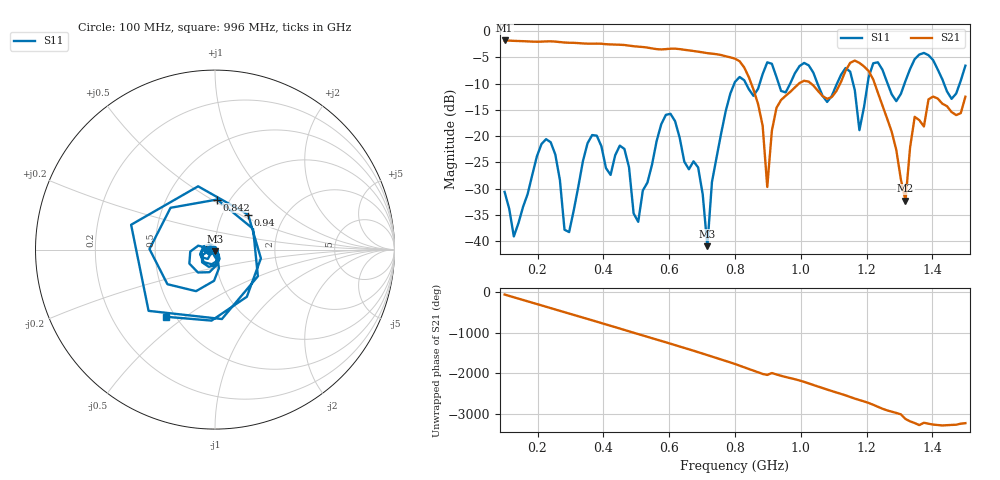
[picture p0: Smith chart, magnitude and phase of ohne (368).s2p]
! NanoVNA-App
! Date: 2025-09-25 14:23:39
! Start: 100MHz Stop: 1,5GHz Points: 101
! S-Parameter data: F S11 S21 S12 S22
# Hz S RI R 50
!  Frequency  S11_Real  S11_Imag  S21_Real  S21_Imag  S12_Real  S12_Imag  S22_Real  S22_Imag
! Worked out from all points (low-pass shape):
!   101 points, 100 MHz to 1.5 GHz, reference 50 ohm
!   highest |S21| = -1.79 dB at 100 MHz (marker M1); lowest = -32.3 dB at 1.318 GHz (marker M2)
!   |S21| within 3 dB of the highest: start of sweep to 771.4 MHz
!   lowest |S11| = -41.0 dB at 716 MHz (marker M3), VSWR 1.02, Z = 49.8 - j0.878 ohm
!   |S11| at or under -10 dB: start of sweep to 798 MHz; 833.2 MHz to 875.1 MHz (41.88 MHz wide, 4.9 % of centre); 1.051 GHz to 1.11 GHz (59.5 MHz wide, 5.51 % of centre) (the widest 3 of 7)
!   S12 and S22 are empty: the file has one direction only
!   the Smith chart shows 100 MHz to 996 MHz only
!   S11 on the Smith chart (normalised r, x): 100 MHz: 0.94, -0.01; 842 MHz: 0.88, +0.53; 940 MHz: 1.32, +0.56; 996 MHz: 0.45, -0.42
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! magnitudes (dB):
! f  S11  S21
! 100 MHz  -30.6  -1.8
! 128 MHz  -39.1  -1.9
! 226 MHz  -20.6  -2.0
! 296 MHz  -38.3  -2.2
! 338 MHz  -24.8  -2.4
! 464 MHz  -22.5  -2.7
! 506 MHz  -36.3  -3.0
! 576 MHz  -17.7  -3.5
! 688 MHz  -26.0  -3.9
! 716 MHz  -41.0  -4.2
! 800 MHz  -9.7  -5.3
! 842 MHz  -11.1  -8.8
! 898 MHz  -6.0  -29.7
! 940 MHz  -11.4  -13.1
! 996 MHz  -6.7  -9.9
! 1.038 GHz  -7.9  -10.4
! 1.178 GHz  -18.9  -6.1
! 1.22 GHz  -6.1  -9.2
! 1.276 GHz  -12.0  -19.2
! 1.318 GHz  -9.5  -32.3
! 1.346 GHz  -5.3  -16.3
! 1.5 GHz  -6.6  -12.5
